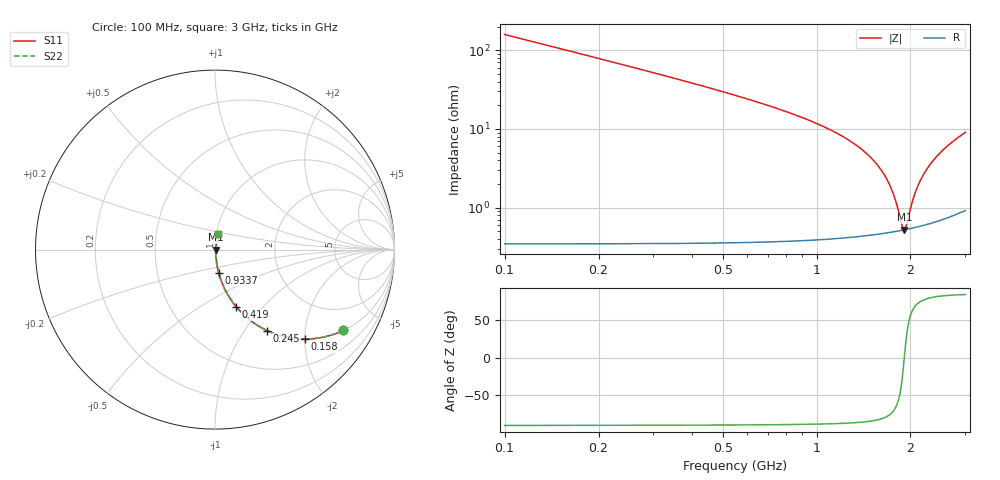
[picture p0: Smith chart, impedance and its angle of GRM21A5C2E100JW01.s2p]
!Murata Part Number: GRM21A5C2E100JW01
!These Parameters are Measured in Series Mode Connection
!Data Generated on Mar 30, 2021
!  o--ll--o
!Port1  Port2
!  o------o
!Operation Temp=25[degC], DC Bias Voltage=0[V]
!Freq. Start=100[MHz] Stop=3[GHz] 401[Steps]
# Hz S RI R 50
!Freq.(Hz) S11(Real) S11(Imag) S21(Real) S21(Imag) S12(Real) S12(Imag) S22(Real) S22(Imag)
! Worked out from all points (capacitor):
!   401 points, 100 MHz to 3 GHz, reference 50 ohm
!   read as one part in series: C = 10 pF near 114.5 MHz
!   lowest |Z| = 522 mohm at 1.913 GHz (marker M1)
!   series resonance near 1.91 GHz, so ESL is about 690 pH
!   S11 on the Smith chart (normalised r, x): 100 MHz: 1.01, -3.17; 158 MHz: 1.01, -2.00; 245 MHz: 1.01, -1.28; 419 MHz: 1.01, -0.73; 933.8 MHz: 1.01, -0.26; 3 GHz: 1.02, +0.18
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1e8  0.7155 -0.4501  0.2845 0.4501  0.2845 0.4501  0.7155 -0.4501
1.58e8  0.5004 -0.4983  0.4996 0.4983  0.4996 0.4983  0.5004 -0.4983
2.45e8  0.2913 -0.4517  0.7087 0.4517  0.7087 0.4517  0.2913 -0.4517
3.2475e8  0.1869 -0.3862  0.8131 0.3862  0.8131 0.3862  0.1869 -0.3862
4.19e8  0.1185 -0.3184  0.8815 0.3184  0.8815 0.3184  0.1185 -0.3184
5.8575e8  0.0607 -0.2316  0.9393 0.2316  0.9393 0.2316  0.0607 -0.2316
9.3375e8  0.0206 -0.1282  0.9794 0.1282  0.9794 0.1282  0.0206 -0.1282
1.0715e9  0.0144 -0.1017  0.9856 0.1017  0.9856 0.1017  0.0144 -0.1017
1.35425e9  0.0078 -0.0594  0.9922 0.0594  0.9922 0.0594  0.0078 -0.0594
1.55e9  0.00583 -0.036  0.9942 0.036  0.9942 0.036  0.00583 -0.036
1.6515e9  0.00532 -0.0251  0.9947 0.0251  0.9947 0.0251  0.00532 -0.0251
1.73125e9  0.00512 -0.017  0.9949 0.017  0.9949 0.017  0.00512 -0.017
1.7965e9  0.00507 -0.0107  0.9949 0.0107  0.9949 0.0107  0.00507 -0.0107
1.8835e9  0.00513 -0.00247  0.9949 0.00247  0.9949 0.00247  0.00513 -0.00247
1.9125e9  0.00519 0.000193  0.9948 -0.000193  0.9948 -0.000193  0.00519 0.000193
1.9415e9  0.00526 0.00282  0.9947 -0.00282  0.9947 -0.00282  0.00526 0.00282
2.03575e9  0.00559 0.0112  0.9944 -0.0112  0.9944 -0.0112  0.00559 0.0112
2.1155e9  0.00599 0.018  0.994 -0.018  0.994 -0.018  0.00599 0.018
2.22425e9  0.0067 0.0271  0.9933 -0.0271  0.9933 -0.0271  0.0067 0.0271
2.35475e9  0.00779 0.0378  0.9922 -0.0378  0.9922 -0.0378  0.00779 0.0378
2.5215e9  0.00955 0.051  0.9904 -0.051  0.9904 -0.051  0.00955 0.051
3e9  0.0169 0.0875  0.9831 -0.0875  0.9831 -0.0875  0.0169 0.0875
